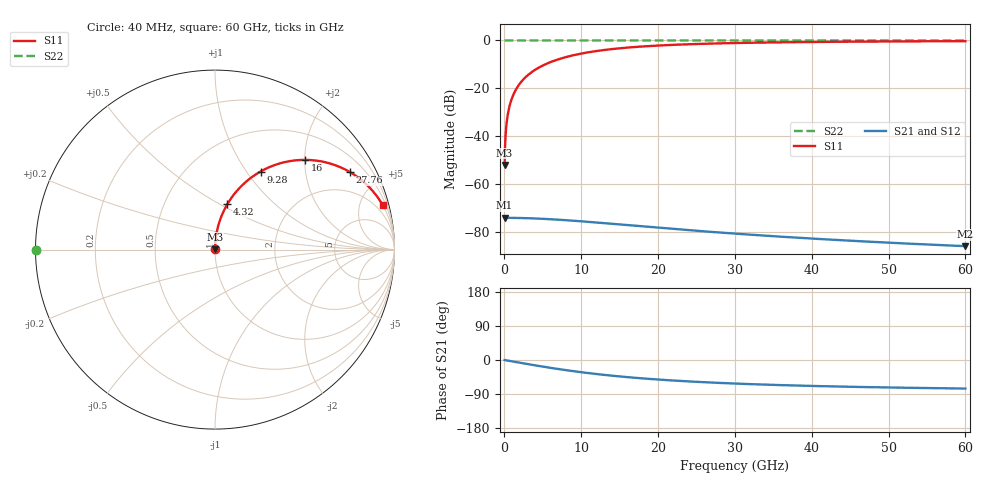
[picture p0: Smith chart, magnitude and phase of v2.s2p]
! Created Thu Oct  3 11:08:20 2024
# hz S ma R 50
! 2 Port Network Data from SP1.SP block
! freq  magS11  angS11  magS21  angS21  magS12  angS12  magS22  angS22
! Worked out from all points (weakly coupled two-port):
!   1500 points, 40 MHz to 60 GHz, reference 50 ohm
!   highest |S21| = -73.98 dB at 40 MHz (marker M1); lowest = -85.8 dB at 60 GHz (marker M2)
!   lowest |S11| = -52.0 dB at 40 MHz (marker M3), VSWR 1.01, Z = 50 + j0.251 ohm
!   |S11| at or under -10 dB: start of sweep to 5.306 GHz
!   |S22| runs from 0.0 to 0.0 dB; largest |S21 - S12| = 0
!   S11 on the Smith chart (normalised r, x): 40 MHz: 1.00, +0.01; 4.32 GHz: 1.00, +0.54; 9.28 GHz: 1.00, +1.17; 16 GHz: 1.00, +2.01; 27.76 GHz: 1.00, +3.49; 60 GHz: 1.00, +7.54
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4e7  0.002515 87.6  0.0001999 -0.1  0.0001999 -0.1  0.9996 -180.0
2e8  0.01256 88.8  0.0001999 -0.7  0.0001999 -0.7  0.9996 -180.0
3.6e8  0.02261 88.5  0.0001999 -1.3  0.0001999 -1.3  0.9996 -180.0
4.8e8  0.03014 88.1  0.0001998 -1.7  0.0001998 -1.7  0.9996 -180.0
6e8  0.03767 87.7  0.0001998 -2.2  0.0001998 -2.2  0.9996 -180.0
7.6e8  0.04769 87.1  0.0001997 -2.7  0.0001997 -2.7  0.9996 -180.0
1.12e9  0.07019 85.9  0.0001994 -4.0  0.0001994 -4.0  0.9996 -180.0
1.68e9  0.105 83.9  0.0001988 -6.0  0.0001988 -6.0  0.9996 -180.0
2.36e9  0.1467 81.5  0.0001978 -8.4  0.0001978 -8.4  0.9996 -180.0
3.24e9  0.1995 78.5  0.0001959 -11.5  0.0001959 -11.5  0.9996 -180.0
4.32e9  0.2619 74.8  0.000193 -15.2  0.000193 -15.2  0.9996 -180.0
6.52e9  0.3791 67.7  0.000185 -22.3  0.000185 -22.3  0.9996 -180.0
9.28e9  0.5037 59.7  0.0001727 -30.3  0.0001727 -30.3  0.9996 -180.0
1.004e10  0.5335 57.7  0.0001691 -32.3  0.0001691 -32.3  0.9996 -180.0
1.28e10  0.6267 51.2  0.0001558 -38.9  0.0001558 -38.9  0.9996 -180.0
1.6e10  0.7089 44.8  0.000141 -45.2  0.000141 -45.2  0.9996 -180.0
2.004e10  0.7831 38.5  0.0001244 -51.6  0.0001244 -51.6  0.9996 -180.0
2.776e10  0.8675 29.8  9.945e-05 -60.3  9.945e-05 -60.3  0.9996 -180.0
3.004e10  0.8836 27.9  9.361e-05 -62.2  9.361e-05 -62.2  0.9996 -180.0
4.004e10  0.9293 21.7  7.386e-05 -68.5  7.386e-05 -68.5  0.9996 -180.0
5.004e10  0.953 17.6  6.061e-05 -72.5  6.061e-05 -72.5  0.9996 -180.0
6e10  0.9666 14.9  5.127e-05 -75.4  5.127e-05 -75.4  0.9996 -180.0
